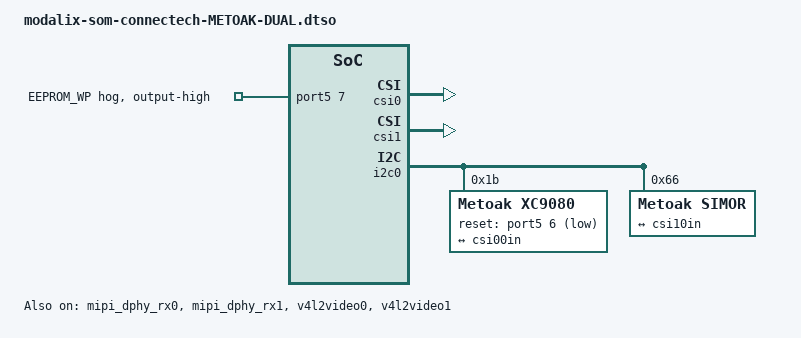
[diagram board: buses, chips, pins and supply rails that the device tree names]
// SPDX-License-Identifier: (GPL-2.0+ OR MIT)
/*
 * Copyright (c) 2026 SiMa ai
 */

/dts-v1/;
/plugin/;

#include <dt-bindings/gpio/gpio.h>
#include "modalix-som-connectech-common.dtsi"

&{/} {
        xclk_shared: xclk {
                status = "okay";
                compatible = "fixed-clock";
                #clock-cells = <0>;
                clock-frequency = <24000000>;
        };
};

&port5 {
        gpio-line-names =
                     "",        /* pin 0 */
                     "",        /* pin 1 */
                     "",        /* pin 2 */
                     "",        /* pin 3 */
                     "",        /* pin 4 */
                     "",        /* pin 5 */
                     "SIMOR_RESET";        /* pin 6 */

        cam-hog1 {
                gpio-hog;
                /* Set port5 gpio7 to GPIO_ACTIVE_HIGH mode */
                gpios = <7 0>;
                output-high;
                line-name = "EEPROM_WP";
        };
};

&csi0 {
    status = "okay";
};

&csi1 {
    status = "okay";
};

&axi_vdma0 {
    status = "okay";
};

&axi_vdma1 {
    status = "okay";
};

&mipi_dphy_rx0 {
    status = "okay";
};

&mipi_dphy_rx1 {
    status = "okay";
    /* the band's own gain mode loses ~20% of this transmitter's frames;
     * mode 3, the choice above 1.5 Gbps, recovers them */
    snps,rx-hs-gain-mode = <3>;
};

&v4l2video0 {
    status = "okay";
};

&v4l2video1 {
    status = "okay";
};

&v4l2vdma0 {
    status = "okay";
};

&v4l2vdma1 {
    status = "okay";
};

&csi00in {
    clock-lanes = <0>;
    data-lanes = <1 2>;
    link-frequencies = /bits/ 64 <480000000>;
    remote-endpoint = <&cam00out>;
    clock-continuous;
};

&csi10in {
    clock-lanes = <0>;
    data-lanes = <1 2>;
    link-frequencies = /bits/ 64 <480000000>;
    remote-endpoint = <&cam10out>;
    clock-continuous;
};

&i2c0 {
        xc9080: xc9080@1b {
                compatible = "Metoak,xc9080";
                reg = <0x1b>;

                startup-delay-ms = <0>;
                reset-gpios = <&port5 6 GPIO_ACTIVE_LOW>;

                port@1 {
                        cam00out: endpoint@0 {
                                clock-lanes = <0>;
                                data-lanes = <1 2>;
                                /* datasheet mipiclk 960 Mbps/lane (measured ~904) */
                                link-frequencies = /bits/ 64 <480000000>;
                                remote-endpoint = <&csi00in>;
                                clock-continuous;
                        };
                };
        };

        simor: simor@66 {
                compatible = "Metoak,simor";
                reg = <0x66>;

                port@1 {
                        cam10out: endpoint@0 {
                                clock-lanes = <0>;
                                data-lanes = <1 2>;
                                /* datasheet mipiclk 960 Mbps/lane; with HS gain
                                 * mode 3 the 900, 1000 and 1100 bands receive
                                 * alike */
                                link-frequencies = /bits/ 64 <480000000>;
                                remote-endpoint = <&csi10in>;
                                clock-continuous;
                        };
                };
        };
};
